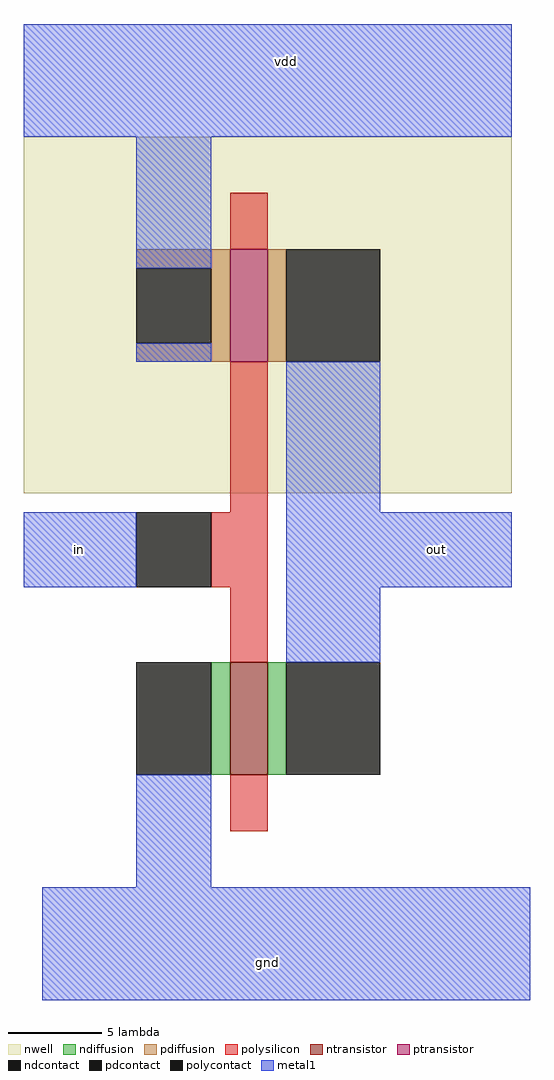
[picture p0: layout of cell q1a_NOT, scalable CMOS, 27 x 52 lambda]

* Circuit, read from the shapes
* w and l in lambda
.subckt q1a_NOT gnd in out vdd
M1 out in gnd VSUBS nfet w=6 l=2
M2 out in vdd n1 pfet w=6 l=2
.ends

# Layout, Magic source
magic
tech scmos
<< nwell >>
rect -12 4 14 23
<< ntransistor >>
rect -1 -11 1 -5
<< ptransistor >>
rect -1 11 1 17
<< ndiffusion >>
rect -2 -11 -1 -5
rect 1 -11 2 -5
<< pdiffusion >>
rect -6 16 -1 17
rect -2 12 -1 16
rect -6 11 -1 12
rect 1 11 2 17
<< ndcontact >>
rect -6 -11 -2 -5
rect 2 -11 7 -5
<< pdcontact >>
rect -6 12 -2 16
rect 2 11 7 17
<< polysilicon >>
rect -1 17 1 20
rect -1 3 1 11
rect -2 -1 1 3
rect -1 -5 1 -1
rect -1 -14 1 -11
<< polycontact >>
rect -6 -1 -2 3
<< metal1 >>
rect -12 23 14 29
rect -6 16 -2 23
rect -6 11 -2 12
rect 2 3 7 11
rect -12 -1 -6 3
rect 2 -1 14 3
rect 2 -5 7 -1
rect -6 -17 -2 -11
rect -11 -23 15 -17
<< labels >>
rlabel metal1 -1 26 5 28 5 vdd
rlabel metal1 -10 0 -8 2 3 in
rlabel metal1 9 0 11 2 7 out
rlabel metal1 -2 -22 4 -20 1 gnd
<< end >>
